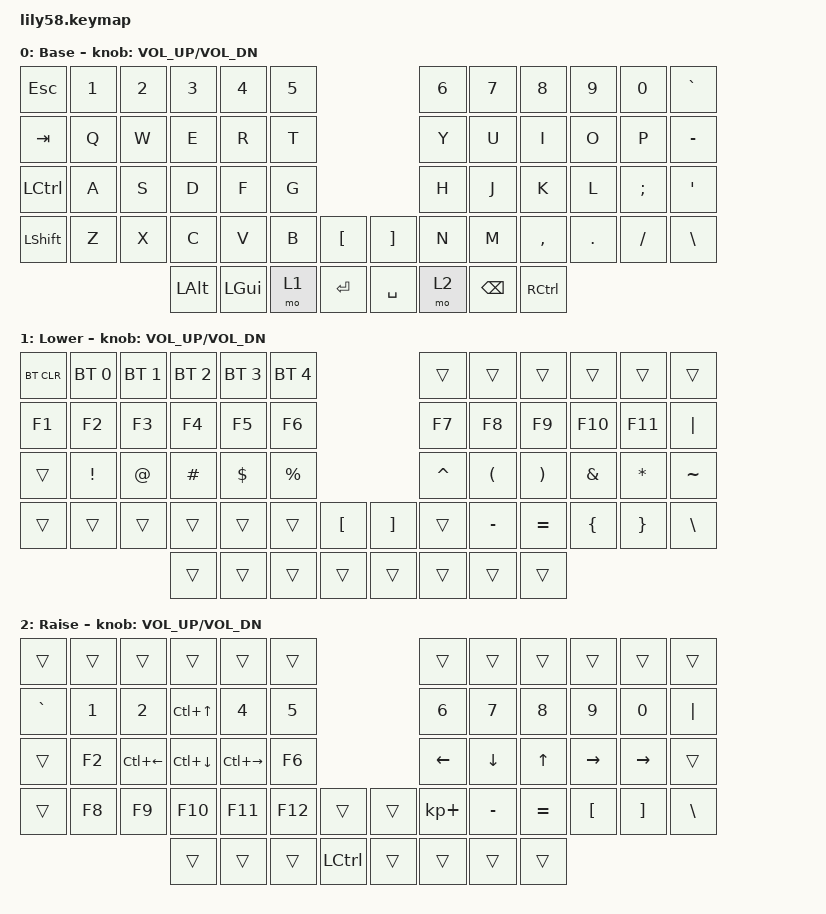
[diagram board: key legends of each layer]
/*
 * Copyright (c) 2020 The ZMK Contributors
 *
 * SPDX-License-Identifier: MIT
 */

#include <behaviors.dtsi>
#include <dt-bindings/zmk/bt.h>
#include <dt-bindings/zmk/keys.h>

/ {
    keymap {
        compatible = "zmk,keymap";

        default_layer {
            // ------------------------------------------------------------------------------------------------------------
            // |  ESC  |  1  |  2  |  3   |  4   |  5   |                   |  6   |  7    |  8    |  9   |   0   |   `   |
            // |  TAB  |  Q  |  W  |  E   |  R   |  T   |                   |  Y   |  U    |  I    |  O   |   P   |   -   |
            // |  CTRL |  A  |  S  |  D   |  F   |  G   |                   |  H   |  J    |  K    |  L   |   ;   |   '   |
            // | SHIFT |  Z  |  X  |  C   |  V   |  B   |   "["  |  |  "]"  |  N   |  M    |  ,    |  .   |   /   | SHIFT |
            //                     | ALT  | GUI  | LOWER|  SPACE |  | ENTER | RAISE| BSPC  | GUI   |

            display-name = "Base";
            bindings = <
&kp ESC    &kp N1  &kp N2  &kp N3    &kp N4    &kp N5                          &kp N6  &kp N7    &kp N8     &kp N9   &kp N0    &kp GRAVE
&kp TAB    &kp Q   &kp W   &kp E     &kp R     &kp T                           &kp Y   &kp U     &kp I      &kp O    &kp P     &kp MINUS
&kp LCTRL  &kp A   &kp S   &kp D     &kp F     &kp G                           &kp H   &kp J     &kp K      &kp L    &kp SEMI  &kp SQT
&kp LSHFT  &kp Z   &kp X   &kp C     &kp V     &kp B   &kp LBKT     &kp RBKT   &kp N   &kp M     &kp COMMA  &kp DOT  &kp FSLH  &kp BACKSLASH
                           &kp LALT  &kp LGUI  &mo 1   &kp ENTER    &kp SPACE  &mo 2   &kp BSPC  &kp RCTRL
            >;

            sensor-bindings = <&inc_dec_kp C_VOL_UP C_VOL_DN>;
        };

        lower_layer {
            // ------------------------------------------------------------------------------------------------------------
            // | BTCLR | BT1 | BT2 |  BT3 |  BT4 |  BT5 |                   |      |       |       |      |       |       |
            // |  F1   |  F2 |  F3 |  F4  |  F5  |  F6  |                   |  F7  |  F8   |  F9   |  F10 |  F11  |  F12  |
            // |   `   |  !  |  @  |  #   |  $   |  %   |                   |  ^   |  &    |  *    |  (   |   )   |   ~   |
            // |       |     |     |      |      |      |        |  |       |      |  _    |  +    |  {   |   }   |  "|"  |
            //                     |      |      |      |        |  |       |      |       |       |

            display-name = "Lower";
            bindings = <
&bt BT_CLR  &bt BT_SEL 0  &bt BT_SEL 1  &bt BT_SEL 2  &bt BT_SEL 3  &bt BT_SEL 4                                         &trans     &trans                &trans                 &trans    &trans     &trans
&kp F1      &kp F2        &kp F3        &kp F4        &kp F5        &kp F6                                               &kp F7     &kp F8                &kp F9                 &kp F10   &kp F11    &kp PIPE
&trans      &kp EXCL      &kp AT        &kp HASH      &kp DOLLAR    &kp PRCNT                                            &kp CARET  &kp LEFT_PARENTHESIS  &kp RIGHT_PARENTHESIS  &kp AMPS  &kp ASTRK  &kp TILDE
&trans      &trans        &trans        &trans        &trans        &trans        &kp LEFT_BRACKET    &kp RIGHT_BRACKET  &trans     &kp MINUS             &kp EQUAL              &kp LBRC  &kp RBRC   &kp BACKSLASH
                                        &trans        &trans        &trans        &trans              &trans             &trans     &trans                &trans
            >;

            sensor-bindings = <&inc_dec_kp C_VOL_UP C_VOL_DN>;
        };

        raise_layer {
            // ------------------------------------------------------------------------------------------------------------
            // |       |     |     |      |      |      |                   |      |       |       |      |       |       |
            // |   `   |  1  |  2  |  3   |  4   |  5   |                   |  6   |   7   |   8   |  9   |   0   |       |
            // |   F1  |  F2 |  F3 |  F4  |  F5  |  F6  |                   |      |   <-  |   v   |  ^   |  ->   |       |
            // |   F7  |  F8 |  F9 |  F10 |  F11 |  F12 |        |  |       |  +   |   -   |   =   |  [   |   ]   |   \   |
            //                     |      |      |      |        |  |       |      |       |       |

            display-name = "Raise";
            bindings = <
&trans     &trans  &trans        &trans              &trans               &trans                        &trans          &trans          &trans        &trans           &trans     &trans
&kp GRAVE  &kp N1  &kp N2        &kp LC(UP_ARROW)    &kp N4               &kp N5                        &kp N6          &kp N7          &kp N8        &kp N9           &kp N0     &kp PIPE
&trans     &kp F2  &kp LC(LEFT)  &kp LC(DOWN_ARROW)  &kp LC(RIGHT_ARROW)  &kp F6                        &kp LEFT_ARROW  &kp DOWN_ARROW  &kp UP_ARROW  &kp RIGHT_ARROW  &kp RIGHT  &trans
&trans     &kp F8  &kp F9        &kp F10             &kp F11              &kp F12  &trans       &trans  &kp KP_PLUS     &kp MINUS       &kp EQUAL     &kp LBKT         &kp RBKT   &kp BSLH
                                 &trans              &trans               &trans   &kp LCTRL    &trans  &trans          &trans          &trans
            >;

            sensor-bindings = <&inc_dec_kp C_VOL_UP C_VOL_DN>;
        };
    };
};
